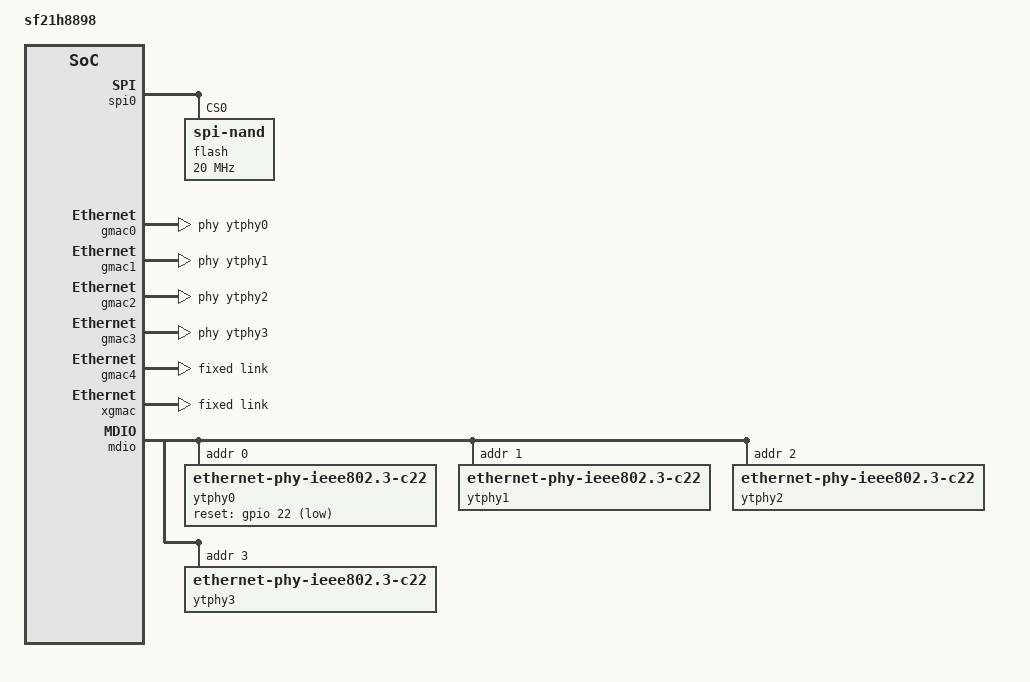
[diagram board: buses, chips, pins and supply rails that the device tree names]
// SPDX-License-Identifier: GPL-2.0

/dts-v1/;
#include "sf21h8898.dtsi"

/ {
	model = "sf21h8898";
	compatible = "siflower,sf21h8898";

	chosen {
		stdout-path = &uart1;
		tick-timer = &timer0;
	};

};

&uart1 {
	u-boot,dm-pre-reloc;
};

&watchdog {
	u-boot,dm-pre-reloc;
};

&timer0 {
	u-boot,dm-pre-reloc;
};

&spi0 {
	status = "okay";

	flash@0 {
		compatible = "spi-nand";
		reg = <0>;
		spi-max-frequency = <20000000>;
		spi-tx-bus-width = <4>;
		spi-rx-bus-width = <4>;
		#address-cells = <1>;
		#size-cells = <1>;
	};
};

&gmac0 {
	status = "okay";
	local-mac-address = [10 23 45 67 89 ab];
	phy-handle = <&ytphy0>;
};

&gmac1 {
	status = "okay";
	local-mac-address = [10 23 45 67 89 ab];
	phy-handle = <&ytphy1>;
};

&gmac2 {
	status = "okay";
	local-mac-address = [10 23 45 67 89 ab];
	phy-handle = <&ytphy2>;
};

&gmac3 {
	status = "okay";
	local-mac-address = [10 23 45 67 89 ab];
	phy-handle = <&ytphy3>;
};

&gmac4 {
	status = "okay";
	local-mac-address = [10 23 45 67 89 ab];
	tx-internal-delay-ps = <5700>;

	fixed-link {
		speed = <1000>;
		full-duplex;
		pause;
	};
};

&xgmac {
	status = "okay";
	local-mac-address = [10 23 45 67 89 ab];

	fixed-link {
		speed = <10000>;
		full-duplex;
		pause;
	};
};

&mdio {
	ytphy0: ethernet-phy@0 {
		compatible = "ethernet-phy-ieee802.3-c22";
		reg = <0x0>;
		reset-gpios = <&gpio 22 GPIO_ACTIVE_LOW>;
		reset-assert-us = <10000>;
		reset-deassert-us = <100000>;
	};

	ytphy1: ethernet-phy@1 {
		compatible = "ethernet-phy-ieee802.3-c22";
		reg = <0x1>;
	};

	ytphy2: ethernet-phy@2 {
		compatible = "ethernet-phy-ieee802.3-c22";
		reg = <0x2>;
	};

	ytphy3: ethernet-phy@3 {
		compatible = "ethernet-phy-ieee802.3-c22";
		reg = <0x3>;
	};
};

&xpcs0 {
	enable;
};

&xpcs1 {
	enable;
};
